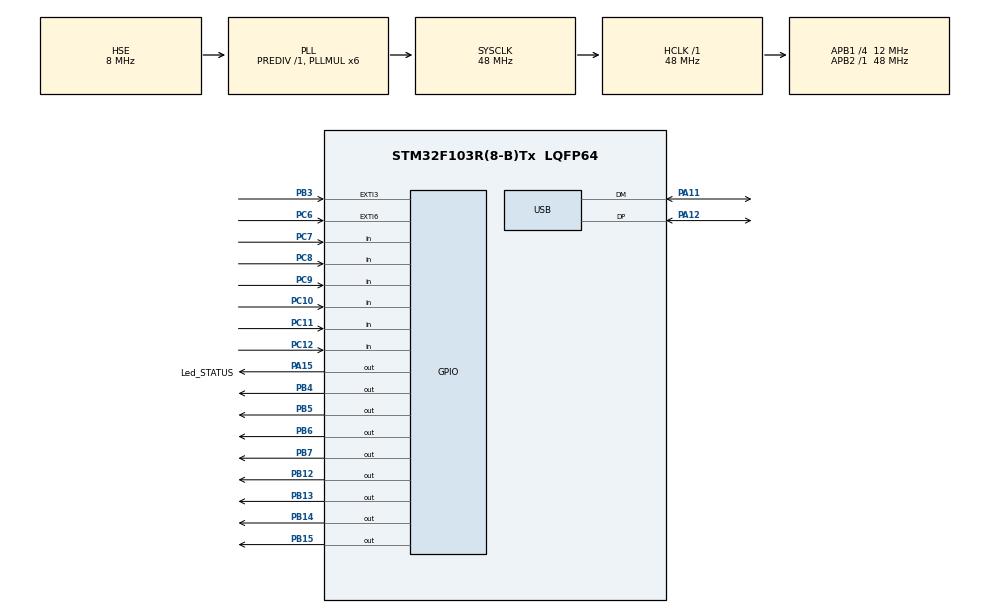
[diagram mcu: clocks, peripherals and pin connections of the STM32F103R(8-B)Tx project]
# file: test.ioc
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Mcu.Family=STM32F1
Mcu.Name=STM32F103R(8-B)Tx
Mcu.Package=LQFP64
NVIC.EXTI3_IRQn=true\:1\:0\:true\:false\:true\:true\:true
NVIC.EXTI9_5_IRQn=true\:1\:0\:true\:false\:true\:true\:true
NVIC.PriorityGroup=NVIC_PRIORITYGROUP_4
NVIC.TIM2_IRQn=true\:0\:0\:false\:false\:true\:true\:true
NVIC.USB_LP_CAN1_RX0_IRQn=true\:0\:0\:false\:false\:true\:false\:true
PA11.Mode=Device
PA11.Signal=USB_DM
PA12.Mode=Device
PA12.Signal=USB_DP
PA13.Mode=Serial_Wire
PA13.Signal=SYS_JTMS-SWDIO
PA14.Mode=Serial_Wire
PA14.Signal=SYS_JTCK-SWCLK
PA15.GPIO_Label=Led_STATUS
PA15.Signal=GPIO_Output
PB12.Signal=GPIO_Output
PB13.Signal=GPIO_Output
PB14.Signal=GPIO_Output
PB15.Signal=GPIO_Output
PB3.Signal=GPXTI3
PB4.Signal=GPIO_Output
PB5.Signal=GPIO_Output
PB6.Signal=GPIO_Output
PB7.Signal=GPIO_Output
PC10.Signal=GPIO_Input
PC11.Signal=GPIO_Input
PC12.Signal=GPIO_Input
PC6.Signal=GPXTI6
PC7.Signal=GPIO_Input
PC8.GPIO_PuPd=GPIO_NOPULL
PC8.Signal=GPIO_Input
PC9.Signal=GPIO_Input
PD0-OSC_IN.Mode=HSE-External-Oscillator
PD0-OSC_IN.Signal=RCC_OSC_IN
PD1-OSC_OUT.Mode=HSE-External-Oscillator
PD1-OSC_OUT.Signal=RCC_OSC_OUT
ProjectManager.HeapSize=0x200
ProjectManager.StackSize=0x400
ProjectManager.TargetToolchain=TrueSTUDIO
RCC.AHBFreq_Value=48000000
RCC.APB1CLKDivider=RCC_HCLK_DIV4
RCC.APB1Freq_Value=12000000
RCC.APB1TimFreq_Value=24000000
RCC.APB2Freq_Value=48000000
RCC.APB2TimFreq_Value=48000000
RCC.HCLKFreq_Value=48000000
RCC.PLLMUL=RCC_PLL_MUL6
RCC.PLLSourceVirtual=RCC_PLLSOURCE_HSE
RCC.SYSCLKFreq_VALUE=48000000
RCC.SYSCLKSource=RCC_SYSCLKSOURCE_PLLCLK
RCC.USBFreq_Value=48000000
TIM2.Period=24000
TIM2.Prescaler=0
USB_DEVICE.CLASS_NAME_FS=CDC
USB_DEVICE.VirtualMode=Cdc
USB_DEVICE.VirtualModeFS=Cdc_FS
VP_TIM2_VS_ClockSourceINT.Mode=Internal
VP_USB_DEVICE_VS_USB_DEVICE_CDC_FS.Mode=CDC_FS
board=custom

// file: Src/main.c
/* USER CODE BEGIN Header */
/**
  ******************************************************************************
  * @file           : main.c
  * @brief          : Main program body
  ******************************************************************************
  * @attention
  *
  * <h2><center>&copy; Copyright (c) 2020 STMicroelectronics.
  * All rights reserved.</center></h2>
  *
  * This software component is licensed by ST under Ultimate Liberty license
  * SLA0044, the "License"; You may not use this file except in compliance with
  * the License. You may obtain a copy of the License at:
  *                             www.st.com/SLA0044
  *
  ******************************************************************************
  */
/* USER CODE END Header */

#include "main.h"
#include "usb_device.h"

TIM_HandleTypeDef htim2;

int CPU_load;
int RAM_load;
int NET_load;
int SOUND_left;
int SOUND_right;
int mode_load = 0;

int time_after_btn = 0,
	time_after_btn2 = 0;

int status_ind_cntr = 0;

void update_led(void);
void Reseive_USB(uint8_t* Buf, uint32_t *Len);

void SystemClock_Config(void);
static void MX_GPIO_Init(void);
static void MX_TIM2_Init(void);

/* USER CODE BEGIN 0 */
void HAL_TIM_PeriodElapsedCallback(TIM_HandleTypeDef *htim)
{
	  if (time_after_btn < 51)
		  time_after_btn++;

	  if (time_after_btn2 < 51)
		  time_after_btn2++;
}

void HAL_GPIO_EXTI_Callback(uint16_t GPIO_Pin)
{
	if (GPIO_Pin == GPIO_PIN_6)
	{
		if (time_after_btn > 50){
			mode_load++;
		    if (mode_load >= 4) mode_load = 0;

			time_after_btn = 0;

			update_led();
		}
	} else if (GPIO_Pin == GPIO_PIN_3) {
		mode_load--;
	    if (mode_load < 0) mode_load = 3;

		time_after_btn2 = 0;

		update_led();
	}
}

void update_led(void)
{
	int disp_val = 0;
	int tmp_var = 0;

	switch (mode_load){
		case 0: { disp_val = CPU_load; break;}
		case 1: { disp_val = RAM_load; break;}
		case 2: { disp_val = NET_load; break;}

		case 3:
		{
			tmp_var |= (SOUND_right >= 2) << 3;
			tmp_var |= (SOUND_right >= 4)  << 2;
			tmp_var |= (SOUND_right >= 6)  << 1;
			tmp_var |= SOUND_right >= 7;

			tmp_var |= (SOUND_left >= 2) << 7;
			tmp_var |= (SOUND_left >= 4)  << 6;
			tmp_var |= (SOUND_left >= 6)  << 5;
			tmp_var |= (SOUND_left >= 7) << 4;

			break;
		}

	}

	if ( (mode_load != 3) )
	  for (int i = 0; i < (disp_val); i++)
		  tmp_var = (tmp_var << 1) | 1;

		HAL_GPIO_WritePin(GPIOB, GPIO_PIN_12, !((tmp_var & 1)));
		HAL_GPIO_WritePin(GPIOB, GPIO_PIN_14, !((tmp_var >> 1) & 1));
		HAL_GPIO_WritePin(GPIOB, GPIO_PIN_15, !((tmp_var >> 2) & 1));
		HAL_GPIO_WritePin(GPIOB, GPIO_PIN_13, !((tmp_var >> 3) & 1));
		HAL_GPIO_WritePin(GPIOB, GPIO_PIN_5, !((tmp_var >> 4) & 1));
		HAL_GPIO_WritePin(GPIOB, GPIO_PIN_6, !((tmp_var >> 5) & 1));
		HAL_GPIO_WritePin(GPIOB, GPIO_PIN_7, !((tmp_var >> 6) & 1));
		HAL_GPIO_WritePin(GPIOB, GPIO_PIN_4, !((tmp_var >> 7) & 1));
}

void Reseive_USB(uint8_t* Buf, uint32_t *Len)
{
	for (int i = 0; i < *Len; i++)
	{
	  if (Buf[i] == 'S') {
		  switch (Buf[i+1]){
		  	  case	'0':{
		  		  CPU_load = Buf[i+2] - '0';
		  		  break;
		  	  }

		  	  case '1': {
		  		  RAM_load = Buf[i+2] - '0';
		  		  break;
		  	  }

		  	  case '2': {
		  		  NET_load = Buf[i+2] - '0';
		  		  break;
		  	  }

		  	  case '3': {
		  		  SOUND_left = Buf[i+2] - '0';
		  		  break;
		  	  }

		  	  case '4': {
		  		  SOUND_right = Buf[i+2] - '0';
		  		  break;
		  	  }
		  }
	  }
	}

	update_led();
}
/* USER CODE END 0 */

int main(void)
{

  /* MCU Configuration--------------------------------------------------------*/

  /* Reset of all peripherals, Initializes the Flash interface and the Systick. */
  HAL_Init();

  /* Configure the system clock */
  SystemClock_Config();

  /* Initialize all configured peripherals */
  MX_GPIO_Init();
  MX_USB_DEVICE_Init();
  MX_TIM2_Init();
  /* USER CODE BEGIN 2 */
  HAL_TIM_Base_Start_IT(&htim2);
  /* USER CODE END 2 */

  /* Infinite loop */
  while (1)
  {
	  for ( int i = 0; i < 100; i++)
	  {
		  HAL_Delay(i/5);
		  HAL_GPIO_WritePin(Led_STATUS_GPIO_Port, Led_STATUS_Pin, 1);
		  HAL_Delay((100 - i)/5);
		  HAL_GPIO_WritePin(Led_STATUS_GPIO_Port, Led_STATUS_Pin, 0);
	  }

	  for ( int i = 99; i >= 0; i--)
	  {
		  HAL_Delay(i/5);
		  HAL_GPIO_WritePin(Led_STATUS_GPIO_Port, Led_STATUS_Pin, 1);
		  HAL_Delay((100 - i)/5);
		  HAL_GPIO_WritePin(Led_STATUS_GPIO_Port, Led_STATUS_Pin, 0);
	  }
  }
}

void SystemClock_Config(void)
{
  RCC_OscInitTypeDef RCC_OscInitStruct = {0};
  RCC_ClkInitTypeDef RCC_ClkInitStruct = {0};
  RCC_PeriphCLKInitTypeDef PeriphClkInit = {0};

  /** Initializes the CPU, AHB and APB busses clocks
  */
  RCC_OscInitStruct.OscillatorType = RCC_OSCILLATORTYPE_HSE;
  RCC_OscInitStruct.HSEState = RCC_HSE_ON;
  RCC_OscInitStruct.HSEPredivValue = RCC_HSE_PREDIV_DIV1;
  RCC_OscInitStruct.HSIState = RCC_HSI_ON;
  RCC_OscInitStruct.PLL.PLLState = RCC_PLL_ON;
  RCC_OscInitStruct.PLL.PLLSource = RCC_PLLSOURCE_HSE;
  RCC_OscInitStruct.PLL.PLLMUL = RCC_PLL_MUL6;
  if (HAL_RCC_OscConfig(&RCC_OscInitStruct) != HAL_OK)
  {
    Error_Handler();
  }
  /** Initializes the CPU, AHB and APB busses clocks
  */
  RCC_ClkInitStruct.ClockType = RCC_CLOCKTYPE_HCLK|RCC_CLOCKTYPE_SYSCLK
                              |RCC_CLOCKTYPE_PCLK1|RCC_CLOCKTYPE_PCLK2;
  RCC_ClkInitStruct.SYSCLKSource = RCC_SYSCLKSOURCE_PLLCLK;
  RCC_ClkInitStruct.AHBCLKDivider = RCC_SYSCLK_DIV1;
  RCC_ClkInitStruct.APB1CLKDivider = RCC_HCLK_DIV4;
  RCC_ClkInitStruct.APB2CLKDivider = RCC_HCLK_DIV1;

  if (HAL_RCC_ClockConfig(&RCC_ClkInitStruct, FLASH_LATENCY_1) != HAL_OK)
  {
    Error_Handler();
  }
  PeriphClkInit.PeriphClockSelection = RCC_PERIPHCLK_USB;
  PeriphClkInit.UsbClockSelection = RCC_USBCLKSOURCE_PLL;
  if (HAL_RCCEx_PeriphCLKConfig(&PeriphClkInit) != HAL_OK)
  {
    Error_Handler();
  }
}

static void MX_TIM2_Init(void)
{

  TIM_ClockConfigTypeDef sClockSourceConfig = {0};
  TIM_MasterConfigTypeDef sMasterConfig = {0};

  htim2.Instance = TIM2;
  htim2.Init.Prescaler = 0;
  htim2.Init.CounterMode = TIM_COUNTERMODE_UP;
  htim2.Init.Period = 24000;
  htim2.Init.ClockDivision = TIM_CLOCKDIVISION_DIV1;
  htim2.Init.AutoReloadPreload = TIM_AUTORELOAD_PRELOAD_DISABLE;
  if (HAL_TIM_Base_Init(&htim2) != HAL_OK)
  {
    Error_Handler();
  }
  sClockSourceConfig.ClockSource = TIM_CLOCKSOURCE_INTERNAL;
  if (HAL_TIM_ConfigClockSource(&htim2, &sClockSourceConfig) != HAL_OK)
  {
    Error_Handler();
  }
  sMasterConfig.MasterOutputTrigger = TIM_TRGO_RESET;
  sMasterConfig.MasterSlaveMode = TIM_MASTERSLAVEMODE_DISABLE;
  if (HAL_TIMEx_MasterConfigSynchronization(&htim2, &sMasterConfig) != HAL_OK)
  {
    Error_Handler();
  }

}

static void MX_GPIO_Init(void)
{
  GPIO_InitTypeDef GPIO_InitStruct = {0};

  /* GPIO Ports Clock Enable */
  __HAL_RCC_GPIOD_CLK_ENABLE();
  __HAL_RCC_GPIOB_CLK_ENABLE();
  __HAL_RCC_GPIOC_CLK_ENABLE();
  __HAL_RCC_GPIOA_CLK_ENABLE();

  /*Configure GPIO pin Output Level */
  HAL_GPIO_WritePin(GPIOB, GPIO_PIN_12|GPIO_PIN_13|GPIO_PIN_14|GPIO_PIN_15
                          |GPIO_PIN_4|GPIO_PIN_5|GPIO_PIN_6|GPIO_PIN_7, GPIO_PIN_RESET);

  /*Configure GPIO pin Output Level */
  HAL_GPIO_WritePin(Led_STATUS_GPIO_Port, Led_STATUS_Pin, GPIO_PIN_RESET);

  /*Configure GPIO pins : PB12 PB13 PB14 PB15
                           PB4 PB5 PB6 PB7 */
  GPIO_InitStruct.Pin = GPIO_PIN_12|GPIO_PIN_13|GPIO_PIN_14|GPIO_PIN_15
                          |GPIO_PIN_4|GPIO_PIN_5|GPIO_PIN_6|GPIO_PIN_7;
  GPIO_InitStruct.Mode = GPIO_MODE_OUTPUT_PP;
  GPIO_InitStruct.Pull = GPIO_NOPULL;
  GPIO_InitStruct.Speed = GPIO_SPEED_FREQ_LOW;
  HAL_GPIO_Init(GPIOB, &GPIO_InitStruct);

  /*Configure GPIO pin : PC6 */
  GPIO_InitStruct.Pin = GPIO_PIN_6;
  GPIO_InitStruct.Mode = GPIO_MODE_IT_RISING;
  GPIO_InitStruct.Pull = GPIO_NOPULL;
  HAL_GPIO_Init(GPIOC, &GPIO_InitStruct);

  /*Configure GPIO pins : PC7 PC8 PC9 PC10
                           PC11 PC12 */
  GPIO_InitStruct.Pin = GPIO_PIN_7|GPIO_PIN_8|GPIO_PIN_9|GPIO_PIN_10
                          |GPIO_PIN_11|GPIO_PIN_12;
  GPIO_InitStruct.Mode = GPIO_MODE_INPUT;
  GPIO_InitStruct.Pull = GPIO_NOPULL;
  HAL_GPIO_Init(GPIOC, &GPIO_InitStruct);

  /*Configure GPIO pin : Led_STATUS_Pin */
  GPIO_InitStruct.Pin = Led_STATUS_Pin;
  GPIO_InitStruct.Mode = GPIO_MODE_OUTPUT_PP;
  GPIO_InitStruct.Pull = GPIO_NOPULL;
  GPIO_InitStruct.Speed = GPIO_SPEED_FREQ_LOW;
  HAL_GPIO_Init(Led_STATUS_GPIO_Port, &GPIO_InitStruct);

  /*Configure GPIO pin : PB3 */
  GPIO_InitStruct.Pin = GPIO_PIN_3;
  GPIO_InitStruct.Mode = GPIO_MODE_IT_RISING;
  GPIO_InitStruct.Pull = GPIO_NOPULL;
  HAL_GPIO_Init(GPIOB, &GPIO_InitStruct);

  /* EXTI interrupt init*/
  HAL_NVIC_SetPriority(EXTI3_IRQn, 1, 0);
  HAL_NVIC_EnableIRQ(EXTI3_IRQn);

  HAL_NVIC_SetPriority(EXTI9_5_IRQn, 1, 0);
  HAL_NVIC_EnableIRQ(EXTI9_5_IRQn);

}

void Error_Handler(void)
{
}

/************************ (C) COPYRIGHT STMicroelectronics *****END OF FILE****/
